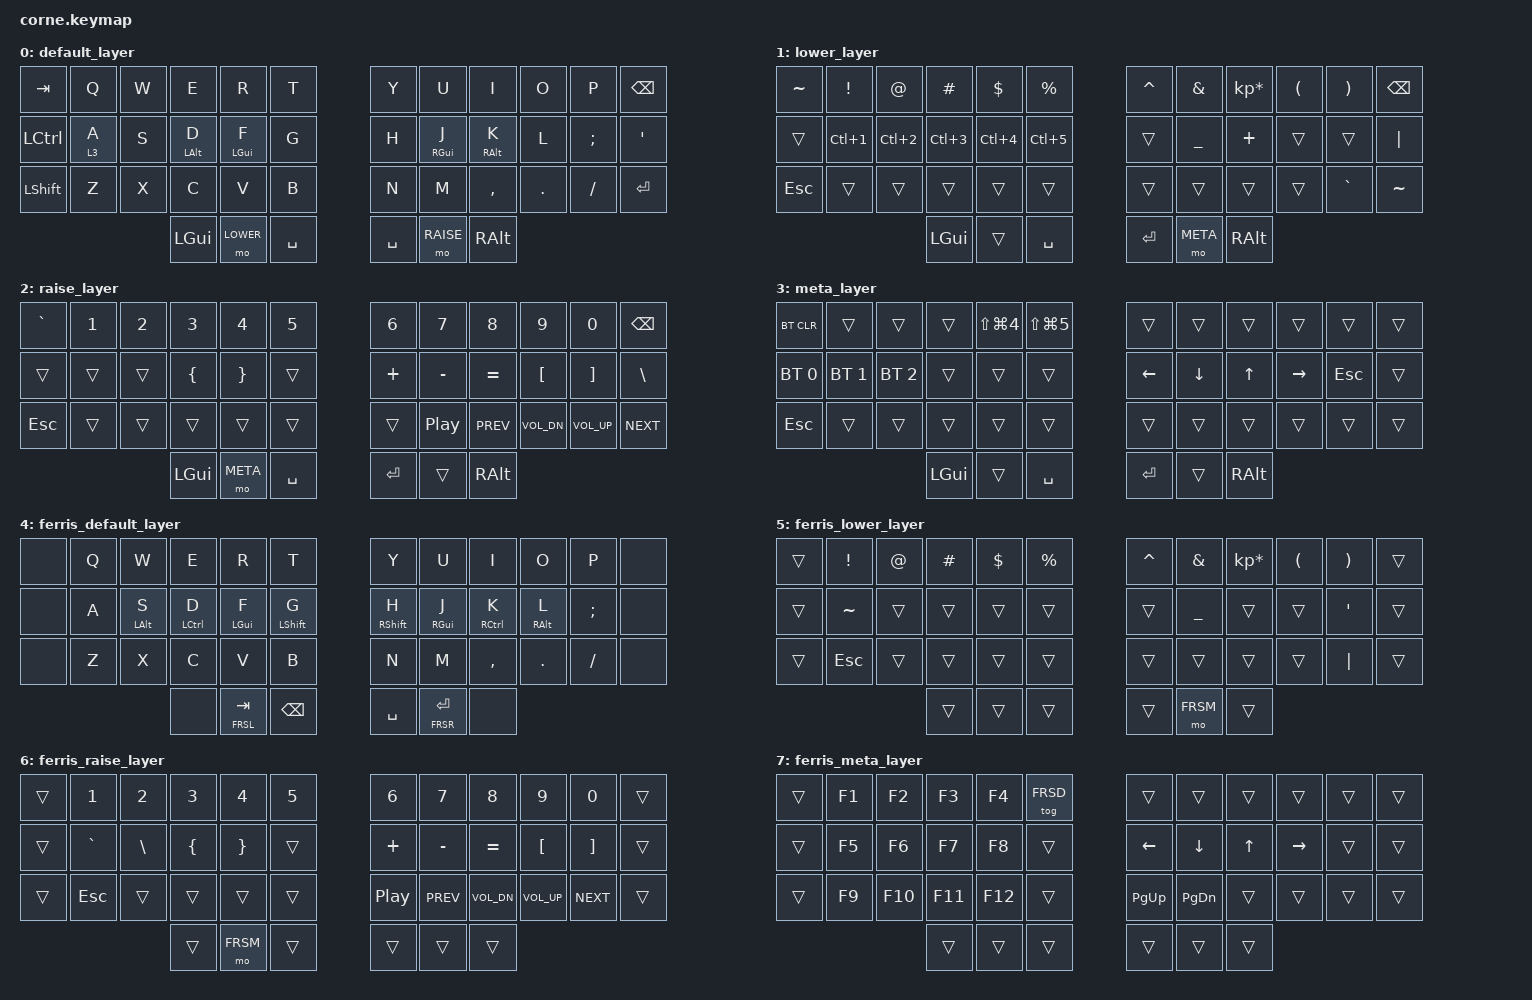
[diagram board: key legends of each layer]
/*
 * Copyright (c) 2020 The ZMK Contributors
 *
 * SPDX-License-Identifier: MIT
 */

#include <behaviors.dtsi>
#include <dt-bindings/zmk/keys.h>
#include <dt-bindings/zmk/bt.h>

// Layers
#define DEFAULT 0
#define LOWER   1
#define RAISE   2
#define META    3
#define FRSD    4
#define FRSL    5
#define FRSR    6
#define FRSM    7

/ {
    behaviors {
        // https://zmk.dev/docs/behaviors/hold-tap
        ht: hold_tap {
            label = "hold_tap";
            compatible = "zmk,behavior-hold-tap";
            #binding-cells = <2>;
            flavor = "tap-preferred";
            tapping-term-ms = <220>;
            quick-tap-ms = <175>;
            require-prior-idle-ms = <150>;
            bindings = <&kp>, <&kp>;
        };
        htm: hold_tap_mo {
            label = "hold_tap_mo";
            compatible = "zmk,behavior-hold-tap";
            #binding-cells = <2>;
            flavor = "balanced";
            tapping-term-ms = <280>;
            quick-tap-ms = <150>;
            bindings = <&mo>, <&kp>;
        };
    };

    keymap {
        compatible = "zmk,keymap";

        // ===== CRKBD (42) ===== \\

        // DONE: Hold(A)->layer-3, Hold(D)->L-ALT, Hold(F)->OS, Hold(J)->OS, Hold(K)->R-ALT
        // CONSIDER: HOLD->CTRL
        default_layer { // Voyager BASE 0
            bindings = <
            // +----------+----------+----------+----------+----------+----------+          +----------+----------+----------+----------+----------+----------+
            // | TAB      | Q        | W        | E        | R        | T        |          | Y        | U        | I        | O        | P        | BKSP     |
                 &kp TAB    &kp Q      &kp W      &kp E      &kp R      &kp T                 &kp Y      &kp U      &kp I      &kp O      &kp P      &kp BSPC
            // +----------+----------+----------+----------+----------+----------+          +----------+----------+----------+----------+----------+----------+
            // | CTRL     | A        | S        | D        | F        | G        |          | H        | J        | K        | L        | ; :      | ' "      |
                 &kp LCTRL  &htm 3 A   &kp S     &ht LALT D  &ht LGUI F &kp G                 &kp H      &ht RGUI J &ht RALT K &kp L      &kp SEMI   &kp SQT
            // +----------+----------+----------+----------+----------+----------+          +----------+----------+----------+----------+----------+----------+
            // | SHIFT    | Z        | X        | C        | V        | B        |          | N        | M        | , <      | . >      | / ?      | ENTER    |
                 &kp LSHFT  &kp Z      &kp X      &kp C      &kp V      &kp B                 &kp N      &kp M      &kp COMMA  &kp DOT    &kp FSLH   &kp RET
            // +----------+----------+----------+----------+----------+----------+          +----------+----------+----------+----------+----------+----------+
            //                                  | GUI      | LOW      | SPACE    |          | SPACE    | RAISE    | ALT      |
                                                  &kp LGUI   &mo LOWER  &kp SPACE             &kp SPC    &mo RAISE  &kp RALT
            //                                  +----------+----------+----------+          +---------+-----------+----------+
            >;
        };

        // CONSIDER: lots of space to use here - F keys on middle row?
        lower_layer { // Voyager Lower 1
            bindings = <
            // +----------+----------+----------+----------+----------+----------+          +----------+----------+----------+----------+----------+----------+
            // | TILDE    | !        | @        | #        | $        | %        |          | ^        | &        | *        | (        | )        | BKSP     |
                 &kp TILDE  &kp EXCL   &kp AT     &kp HASH   &kp DLLR   &kp PRCNT             &kp CARET  &kp AMPS  &kp KP_MULTIPLY &kp LPAR &kp RPAR &kp BSPC
            // +----------+----------+----------+----------+----------+----------+          +----------+----------+----------+----------+----------+----------+
            // |          | DESK 1   | DESK 2   | DESK 3   | DESK 4   | DESK 5   |          |          | -        | +        |          |          | |        |
                 &trans     &kp LC(N1) &kp LC(N2) &kp LC(N3) &kp LC(N4) &kp LC(N5)            &trans     &kp UNDER  &kp PLUS   &trans     &trans     &kp PIPE
            // +----------+----------+----------+----------+----------+----------+          +----------+----------+----------+----------+----------+----------+
            // | ESC      |          |          |          |          |          |          |          |          |          |          | `        | ~        |
                 &kp ESC    &trans     &trans     &trans     &trans     &trans                &trans     &trans     &trans     &trans     &kp GRAVE  &kp TILDE
            // +----------+----------+----------+----------+----------+----------+          +----------+----------+----------+----------+----------+----------+
            //                                  | GUI      |          | SPACE    |          | ENTER    | META     | ALT      |
                                                  &kp LGUI   &trans     &kp SPACE             &kp RET    &mo META   &kp RALT
            //                                  +----------+----------+----------+          +---------+-----------+----------+
            >;
        };

        // CONSIDER: lots of space to use here
        raise_layer { // Voyager Raise 2
            bindings = <
            // +----------+----------+----------+----------+----------+----------+          +----------+----------+----------+----------+----------+----------+
            // | GRAVE    | 1        | 2        | 3        | 4        | 5        |          | 6        | 7        | 8        | 9        | 0        | BKSP     |
                 &kp GRAVE  &kp N1     &kp N2     &kp N3     &kp N4     &kp N5                &kp N6     &kp N7     &kp N8     &kp N9     &kp N0     &kp BSPC
            // +----------+----------+----------+----------+----------+----------+          +----------+----------+----------+----------+----------+----------+
            // |          |          |          | {        | }        |          |          | +        | -        | =        | [        | ]        | \        |
                 &trans     &trans     &trans     &kp LBRC   &kp RBRC   &trans                &kp PLUS   &kp MINUS  &kp EQUAL  &kp LBKT   &kp RBKT   &kp BSLH
            // +----------+----------+----------+----------+----------+----------+          +----------+----------+----------+----------+----------+----------+
            // | ESC      |          |          |          |          |          |          |          | PLAY/P   | PREV     | VOL+     | VOL-     | NEXT     |
                 &kp ESC    &trans     &trans     &trans     &trans     &trans                &trans    &kp C_PP  &kp C_PREV &kp C_VOL_DN &kp C_VOL_UP &kp C_NEXT
            // +----------+----------+----------+----------+----------+----------+          +----------+----------+----------+----------+----------+----------+
            //                                  | GUI      | META     | SPACE    |          | ENTER    |          | ALT      |
                                                  &kp LGUI   &mo META   &kp SPACE             &kp RET    &trans     &kp RALT
            //                                  +----------+----------+----------+          +---------+-----------+----------+
            >;
        };

        // DONE: ESC
        meta_layer { // Voyager Meta 3
            bindings = <
            // +----------+----------+----------+----------+----------+----------+          +----------+----------+----------+----------+----------+----------+
            // | BT CLEAR |          |          |          | SCR SEL  | SCR APP  |          |          |          |          |          |          |          |
                &bt BT_CLR  &trans     &trans     &trans    &kp LS(LG(N4))  &kp LS(LG(N5))    &trans     &trans     &trans     &trans     &trans     &trans          
            // +----------+----------+----------+----------+----------+----------+          +----------+----------+----------+----------+----------+----------+
            // | BT PROF1 | BT PROF2 | BT PROF3 |          |          |          |          | LEFT     | DOWN     | UP       | RIGHT    | ESC      |          |
              &bt BT_SEL 0 &bt BT_SEL 1 &bt BT_SEL 2  &trans   &trans     &trans              &kp LEFT   &kp DOWN   &kp UP     &kp RIGHT  &kp ESC    &trans          
            // +----------+----------+----------+----------+----------+----------+          +----------+----------+----------+----------+----------+----------+
            // | ESC      |          |          |          |          |          |          |          |          |          |          |          |          |
                 &kp ESC    &trans     &trans     &trans     &trans     &trans                &trans     &trans     &trans     &trans     &trans     &trans          
            // +----------+----------+----------+----------+----------+----------+          +----------+----------+----------+----------+----------+----------+
            //                                  | GUI      |          | SPACE    |          | ENTER    |          | ALT      |
                                                  &kp LGUI   &trans     &kp SPACE             &kp RET    &trans     &kp RALT
            //                                  +----------+----------+----------+          +---------+-----------+----------+
            >;
        };

        // ===== FERRIS TRAINING (34) ===== \\
        // =====  CURRENTLY "HIDDEN"  ===== \\

        ferris_default_layer {
            bindings = <
            // +----------+----------+----------+----------+----------+----------+          +----------+----------+----------+----------+----------+----------+
            // | //////// | Q        | W        | E        | R        | T        |          | Y        | U        | I        | O        | P        | //////// |
                 &none      &kp Q      &kp W      &kp E      &kp R      &kp T                 &kp Y      &kp U      &kp I      &kp O      &kp P      &none
            // +----------+----------+----------+----------+----------+----------+          +----------+----------+----------+----------+----------+----------+
            // | //////// | A        | S        | D        | F        | G        |          | H        | J        | K        | L        | ; :      | //////// |
            // | //////// |          | HOLD:ALT | HOLD:CTR | HOLD:GUI | HOLD:SHF |          | HOLD:SHF | HOLD:GUI | HOLDCTRL | HOLD:ALT |          | //////// |
                 &none      &kp A     &ht LALT S &ht LCTRL D &ht LGUI F &ht LSHFT G          &ht RSHFT H &ht RGUI J &ht RCTRL K &ht RALT L &kp SEMI   &none
            // +----------+----------+----------+----------+----------+----------+          +----------+----------+----------+----------+----------+----------+
            // | //////// | Z        | X        | C        | V        | B        |          | N        | M        | , <      | . >      | / ?      | //////// |
                 &none      &kp Z      &kp X      &kp C      &kp V      &kp B                 &kp N      &kp M      &kp COMMA  &kp DOT    &kp FSLH   &none
            // +----------+----------+----------+----------+----------+----------+          +----------+----------+----------+----------+----------+----------+
            //                                  | //////// | TAB      | BKSP     |          | SPACE    | ENTER    | //////// |
            //                                  | //////// | HOLD:LOW |          |          |          |HOLD:RAISE| //////// |
                                                  &none    &lt FRSL TAB &kp BSPC              &kp SPC  &lt FRSR RET &none
            //                                  +----------+----------+----------+          +---------+-----------+----------+
            >;
        };

        ferris_lower_layer {
            bindings = <
            // +----------+----------+----------+----------+----------+----------+          +----------+----------+----------+----------+----------+----------+
            // | //////// | !        | @        | #        | $        | %        |          | ^        | &        | *        | (        | )        | //////// |
                 &trans     &kp EXCL   &kp AT     &kp HASH   &kp DLLR   &kp PRCNT             &kp CARET  &kp AMPS &kp KP_MULTIPLY &kp LPAR &kp RPAR  &trans
            // +----------+----------+----------+----------+----------+----------+          +----------+----------+----------+----------+----------+----------+
            // | //////// | ~        |          |          |          |          |          |          | _        |          |          | ' "      | //////// |
                 &trans     &kp TILDE  &trans     &trans     &trans     &trans                &trans     &kp UNDER  &trans     &trans     &kp SQT    &trans
            // +----------+----------+----------+----------+----------+----------+          +----------+----------+----------+----------+----------+----------+
            // | //////// | ESC      |          |          |          |          |          |          |          |          |          | |        | //////// |
                 &trans     &kp ESC    &trans     &trans     &trans     &trans                &trans     &trans     &trans     &trans     &kp PIPE  &trans
            // +----------+----------+----------+----------+----------+----------+          +----------+----------+----------+----------+----------+----------+
            //                                  | //////// |          |          |          |          | HOLD:META| //////// |
                                                  &trans     &trans     &trans                &trans     &mo FRSM   &trans
            //                                  +----------+----------+----------+          +---------+-----------+----------+
            >;
        };

        ferris_raise_layer {
            bindings = <
            // +----------+----------+----------+----------+----------+----------+          +----------+----------+----------+----------+----------+----------+
            // | //////// | 1        | 2        | 3        | 4        | 5        |          | 6        | 7        | 8        | 9        | 0        | //////// |
                 &trans     &kp N1     &kp N2     &kp N3     &kp N4     &kp N5                &kp N6     &kp N7     &kp N8     &kp N9     &kp N0     &trans
            // +----------+----------+----------+----------+----------+----------+          +----------+----------+----------+----------+----------+----------+
            // | //////// | `        | \        | {        | }        |          |          | +        | -        | =        | [        | ]        | //////// |
                 &trans     &kp GRAVE  &kp BSLH   &kp LBRC   &kp RBRC   &trans                &kp PLUS   &kp MINUS  &kp EQUAL  &kp LBKT   &kp RBKT   &trans
            // +----------+----------+----------+----------+----------+----------+          +----------+----------+----------+----------+----------+----------+
            // | //////// | ESC      |          |          |          |          |          | PLAY/P   | PREV     | VOL+     | VOL-     | NEXT     | //////// |
                 &trans     &kp ESC    &trans     &trans     &trans     &trans                &kp C_PP  &kp C_PREV &kp C_VOL_DN &kp C_VOL_UP &kp C_NEXT &trans
            // +----------+----------+----------+----------+----------+----------+          +----------+----------+----------+----------+----------+----------+
            //                                  | //////// | HOLD:META|          |          |          |          | //////// |
                                                  &trans     &mo FRSM   &trans                &trans     &trans     &trans  
            //                                  +----------+----------+----------+          +---------+-----------+----------+
            >;
        };

        ferris_meta_layer {
            bindings = <
            // +----------+----------+----------+----------+----------+----------+          +----------+----------+----------+----------+----------+----------+
            // | //////// | F1       | F2       | F3       | F4       | TOGL:FRS |          |          |          |          |          |          | //////// |
                 &trans     &kp F1     &kp F2     &kp F3     &kp F4     &tog FRSD             &trans     &trans     &trans     &trans     &trans     &trans
            // +----------+----------+----------+----------+----------+----------+          +----------+----------+----------+----------+----------+----------+
            // | //////// | F5       | F6       | F7       | F8       |          |          | LEFT     | DOWN     | UP       | RIGHT    |          | //////// |
                 &trans     &kp F5     &kp F6     &kp F7     &kp F8     &trans                &kp LEFT   &kp DOWN   &kp UP     &kp RIGHT  &trans     &trans
            // +----------+----------+----------+----------+----------+----------+          +----------+----------+----------+----------+----------+----------+
            // | //////// | F9       | F10      | F11      | F12      |          |          | PGUP     | PGDOWN   |          |          |          | //////// |
                 &trans     &kp F9     &kp F10   &kp F11    &kp F12     &trans                &kp PG_UP  &kp PG_DN  &trans     &trans     &trans     &trans
            // +----------+----------+----------+----------+----------+----------+          +----------+----------+----------+----------+----------+----------+
            //                                  | //////// |          |          |          |          |          | //////// |
                                                  &trans     &trans     &trans                &trans     &trans     &trans  
            //                                  +----------+----------+----------+          +---------+-----------+----------+
            >;
        };
    };
};
